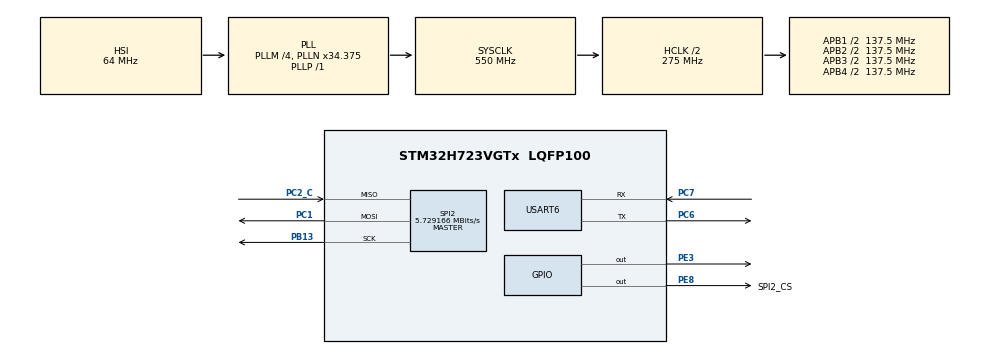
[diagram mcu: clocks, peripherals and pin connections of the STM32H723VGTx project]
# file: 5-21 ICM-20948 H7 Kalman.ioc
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CORTEX_M7.default_mode_Activation=1
Dma.Request0=SPI2_RX
Dma.Request1=SPI2_TX
Dma.SPI2_RX.0.Direction=DMA_PERIPH_TO_MEMORY
Dma.SPI2_RX.0.EventEnable=DISABLE
Dma.SPI2_RX.0.FIFOMode=DMA_FIFOMODE_DISABLE
Dma.SPI2_RX.0.Instance=DMA1_Stream3
Dma.SPI2_RX.0.MemDataAlignment=DMA_MDATAALIGN_BYTE
Dma.SPI2_RX.0.MemInc=DMA_MINC_ENABLE
Dma.SPI2_RX.0.Mode=DMA_NORMAL
Dma.SPI2_RX.0.PeriphDataAlignment=DMA_PDATAALIGN_BYTE
Dma.SPI2_RX.0.PeriphInc=DMA_PINC_DISABLE
Dma.SPI2_RX.0.Polarity=HAL_DMAMUX_REQ_GEN_RISING
Dma.SPI2_RX.0.Priority=DMA_PRIORITY_LOW
Dma.SPI2_RX.0.RequestNumber=1
Dma.SPI2_RX.0.SignalID=NONE
Dma.SPI2_RX.0.SyncEnable=DISABLE
Dma.SPI2_RX.0.SyncPolarity=HAL_DMAMUX_SYNC_NO_EVENT
Dma.SPI2_RX.0.SyncRequestNumber=1
Dma.SPI2_RX.0.SyncSignalID=NONE
Dma.SPI2_TX.1.Direction=DMA_MEMORY_TO_PERIPH
Dma.SPI2_TX.1.EventEnable=DISABLE
Dma.SPI2_TX.1.FIFOMode=DMA_FIFOMODE_DISABLE
Dma.SPI2_TX.1.Instance=DMA1_Stream4
Dma.SPI2_TX.1.MemDataAlignment=DMA_MDATAALIGN_BYTE
Dma.SPI2_TX.1.MemInc=DMA_MINC_ENABLE
Dma.SPI2_TX.1.Mode=DMA_NORMAL
Dma.SPI2_TX.1.PeriphDataAlignment=DMA_PDATAALIGN_BYTE
Dma.SPI2_TX.1.PeriphInc=DMA_PINC_DISABLE
Dma.SPI2_TX.1.Polarity=HAL_DMAMUX_REQ_GEN_RISING
Dma.SPI2_TX.1.Priority=DMA_PRIORITY_LOW
Dma.SPI2_TX.1.RequestNumber=1
Dma.SPI2_TX.1.SignalID=NONE
Dma.SPI2_TX.1.SyncEnable=DISABLE
Dma.SPI2_TX.1.SyncPolarity=HAL_DMAMUX_SYNC_NO_EVENT
Dma.SPI2_TX.1.SyncRequestNumber=1
Dma.SPI2_TX.1.SyncSignalID=NONE
Mcu.Family=STM32H7
Mcu.Name=STM32H723VGTx
Mcu.Package=LQFP100
NVIC.DMA1_Stream3_IRQn=true\:0\:0\:false\:false\:true\:false\:true\:true
NVIC.DMA1_Stream4_IRQn=true\:0\:0\:false\:false\:true\:false\:true\:true
NVIC.PriorityGroup=NVIC_PRIORITYGROUP_4
NVIC.SPI2_IRQn=true\:0\:0\:false\:false\:true\:false\:true\:true
PB13.Mode=Full_Duplex_Master
PB13.Signal=SPI2_SCK
PC1.Mode=Full_Duplex_Master
PC1.Signal=SPI2_MOSI
PC2_C.Mode=Full_Duplex_Master
PC2_C.Signal=SPI2_MISO
PC6.Mode=Asynchronous
PC6.Signal=USART6_TX
PC7.Mode=Asynchronous
PC7.Signal=USART6_RX
PE3.Signal=GPIO_Output
PE8.GPIO_Label=SPI2_CS
PE8.Signal=GPIO_Output
PH0-OSC_IN.Mode=HSE-External-Oscillator
PH0-OSC_IN.Signal=RCC_OSC_IN
PH1-OSC_OUT.Mode=HSE-External-Oscillator
PH1-OSC_OUT.Signal=RCC_OSC_OUT
ProjectManager.HeapSize=0x200
ProjectManager.StackSize=0x400
ProjectManager.TargetToolchain=STM32CubeIDE
RCC.ADCFreq_Value=129000000
RCC.APB1Freq_Value=137500000
RCC.APB2Freq_Value=137500000
RCC.APB3Freq_Value=137500000
RCC.APB4Freq_Value=137500000
RCC.CortexFreq_Value=550000000
RCC.D1PPRE=RCC_APB3_DIV2
RCC.D2PPRE1=RCC_APB1_DIV2
RCC.D2PPRE2=RCC_APB2_DIV2
RCC.D3PPRE=RCC_APB4_DIV2
RCC.DIVM1=4
RCC.DIVN1=34
RCC.DIVP1=1
RCC.DIVQ1=3
RCC.HCLKFreq_Value=275000000
RCC.HPRE=RCC_HCLK_DIV2
RCC.PLL2FRACN=0
RCC.PLL3FRACN=0
RCC.PLLFRACN=3072
RCC.SYSCLKFreq_VALUE=550000000
RCC.SYSCLKSource=RCC_SYSCLKSOURCE_PLLCLK
RCC.USBFreq_Value=183333333.33333334
SPI2.BaudRatePrescaler=SPI_BAUDRATEPRESCALER_32
SPI2.CLKPhase=SPI_PHASE_2EDGE
SPI2.CLKPolarity=SPI_POLARITY_HIGH
SPI2.CalculateBaudRate=5.729166 MBits/s
SPI2.DataSize=SPI_DATASIZE_8BIT
SPI2.Direction=SPI_DIRECTION_2LINES
SPI2.Mode=SPI_MODE_MASTER
SPI2.VirtualType=VM_MASTER
USART6.VirtualMode=VM_ASYNC
VP_MEMORYMAP_VS_MEMORYMAP.Mode=CurAppReg
board=custom

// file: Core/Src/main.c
/* USER CODE BEGIN Header */
/**
  ******************************************************************************
  * @file           : main.c
  * @brief          : Main program body
  ******************************************************************************
  * @attention
  *
  * Copyright (c) 2025 STMicroelectronics.
  * All rights reserved.
  *
  * This software is licensed under terms that can be found in the LICENSE file
  * in the root directory of this software component.
  * If no LICENSE file comes with this software, it is provided AS-IS.
  *
  ******************************************************************************
  */
/* USER CODE END Header */
#include "main.h"
#include "dma.h"
#include "memorymap.h"
#include "spi.h"
#include "usart.h"
#include "gpio.h"

/* USER CODE BEGIN Includes */
#include "icm20948.h"
#include <stdio.h>
#include <string.h>
#include <math.h>
#include "filters.h"
#include "kalman.h"
/* USER CODE END Includes */

/* USER CODE BEGIN PV */
axises my_gyro;
axises my_accel;
axises my_mag;
char uart_buf[200]; // Buffer for UART output
static float gyro_bias[3] = {0}; // Gyro calibration bias
static uint8_t uart_print_counter = 0; // Counter for 10Hz UART output

filtered_axises filtered_gyro;
filtered_axises filtered_accel;
filter_state_t filter_state;
kalman_filter_t kalman_filter; // Add Kalman filter state
//char uart_buf[200];
//static uint8_t uart_print_counter = 0;

/* USER CODE END PV */

void SystemClock_Config(void);
static void MPU_Config(void);
/* USER CODE BEGIN PFP */
void Calculate_Roll_Pitch(axises *accel, float *roll, float *pitch);
void Calibrate_Gyro(void);
/* USER CODE END PFP */

int main(void)
{

  /* MPU Configuration--------------------------------------------------------*/
  MPU_Config();

  /* MCU Configuration--------------------------------------------------------*/

  /* Reset of all peripherals, Initializes the Flash interface and the Systick. */
  HAL_Init();

  /* Configure the system clock */
  SystemClock_Config();

  /* Initialize all configured peripherals */
  MX_GPIO_Init();
  MX_DMA_Init();
  MX_SPI2_Init();
  MX_USART6_UART_Init();
  /* USER CODE BEGIN 2 */

  // Initialize filters
  // Initialize filters and Kalman filter
  filters_init(&filter_state);
  kalman_init(&kalman_filter);
  if (icm20948_who_am_i()) {
	  icm20948_init();
	  filters_calibrate_gyro(&filter_state);
	  filters_calibrate_accel(&filter_state);
	  snprintf(uart_buf, sizeof(uart_buf), "Init Success, Gyro Bias: X=%.2f, Y=%.2f, Z=%.2f dps\n"
			  "Accel Bias: X=%.2f, Y=%.2f, Z=%.2f g\n",
			  filter_state.gyro_bias[0], filter_state.gyro_bias[1], filter_state.gyro_bias[2],
			  filter_state.accel_bias[0], filter_state.accel_bias[1], filter_state.accel_bias[2]);
  } else {
	  snprintf(uart_buf, sizeof(uart_buf), "ICM-20948 Init Failed\r\n");
  }
  HAL_UART_Transmit(&huart6, (uint8_t *)uart_buf, strlen(uart_buf), 100);
  /* USER CODE END 2 */

  /* Infinite loop */
  /* USER CODE BEGIN WHILE */
  uint32_t last_tick = HAL_GetTick();
  while (1)
  {
    /* USER CODE END WHILE */

    /* USER CODE BEGIN 3 */
	  if (HAL_GetTick() - last_tick >= 1) {
		  filters_apply_gyro(&filtered_gyro, &filter_state);
		  filters_apply_accel(&filtered_accel, &filter_state);
		  if (isnan(filtered_gyro.x) || isnan(filtered_accel.x)) {
			  snprintf(uart_buf, sizeof(uart_buf), "NaN Detected in Filtered Data\r\n");
			  HAL_UART_Transmit(&huart6, (uint8_t *)uart_buf, strlen(uart_buf), 100);
		  } else {
			  float roll, pitch;
			  // Use Kalman filter to get fused roll and pitch
			  kalman_update(&kalman_filter, &filtered_gyro, &filtered_accel, &roll, &pitch);
			  uart_print_counter++;
			  if (uart_print_counter >= 70) {
				  snprintf(uart_buf, sizeof(uart_buf),
						  "Filtered Accel: X=%.2f, Y=%.2f, Z=%.2f g\n"
						  "Filtered Gyro: X=%.2f, Y=%.2f, Z=%.2f dps\n"
						  "Kalman Roll: %.2f deg, Pitch: %.2f deg\n\n",
						  filtered_accel.x, filtered_accel.y, filtered_accel.z,
						  filtered_gyro.x, filtered_gyro.y, filtered_gyro.z,
						  roll, pitch);

				  HAL_UART_Transmit(&huart6, (uint8_t *)uart_buf, strlen(uart_buf), 100);
				  uart_print_counter = 0;
			  }
		  }
		  HAL_GPIO_TogglePin(GPIOE, GPIO_PIN_3);
		  last_tick = HAL_GetTick();
	  }
  }
  /* USER CODE END 3 */
}

void SystemClock_Config(void)
{
  RCC_OscInitTypeDef RCC_OscInitStruct = {0};
  RCC_ClkInitTypeDef RCC_ClkInitStruct = {0};

  /** Supply configuration update enable
  */
  HAL_PWREx_ConfigSupply(PWR_LDO_SUPPLY);

  /** Configure the main internal regulator output voltage
  */
  __HAL_PWR_VOLTAGESCALING_CONFIG(PWR_REGULATOR_VOLTAGE_SCALE0);

  while(!__HAL_PWR_GET_FLAG(PWR_FLAG_VOSRDY)) {}

  /** Initializes the RCC Oscillators according to the specified parameters
  * in the RCC_OscInitTypeDef structure.
  */
  RCC_OscInitStruct.OscillatorType = RCC_OSCILLATORTYPE_HSI;
  RCC_OscInitStruct.HSIState = RCC_HSI_DIV1;
  RCC_OscInitStruct.HSICalibrationValue = 64;
  RCC_OscInitStruct.PLL.PLLState = RCC_PLL_ON;
  RCC_OscInitStruct.PLL.PLLSource = RCC_PLLSOURCE_HSI;
  RCC_OscInitStruct.PLL.PLLM = 4;
  RCC_OscInitStruct.PLL.PLLN = 34;
  RCC_OscInitStruct.PLL.PLLP = 1;
  RCC_OscInitStruct.PLL.PLLQ = 3;
  RCC_OscInitStruct.PLL.PLLR = 2;
  RCC_OscInitStruct.PLL.PLLRGE = RCC_PLL1VCIRANGE_3;
  RCC_OscInitStruct.PLL.PLLVCOSEL = RCC_PLL1VCOWIDE;
  RCC_OscInitStruct.PLL.PLLFRACN = 3072;
  if (HAL_RCC_OscConfig(&RCC_OscInitStruct) != HAL_OK)
  {
    Error_Handler();
  }

  /** Initializes the CPU, AHB and APB buses clocks
  */
  RCC_ClkInitStruct.ClockType = RCC_CLOCKTYPE_HCLK|RCC_CLOCKTYPE_SYSCLK
                              |RCC_CLOCKTYPE_PCLK1|RCC_CLOCKTYPE_PCLK2
                              |RCC_CLOCKTYPE_D3PCLK1|RCC_CLOCKTYPE_D1PCLK1;
  RCC_ClkInitStruct.SYSCLKSource = RCC_SYSCLKSOURCE_PLLCLK;
  RCC_ClkInitStruct.SYSCLKDivider = RCC_SYSCLK_DIV1;
  RCC_ClkInitStruct.AHBCLKDivider = RCC_HCLK_DIV2;
  RCC_ClkInitStruct.APB3CLKDivider = RCC_APB3_DIV2;
  RCC_ClkInitStruct.APB1CLKDivider = RCC_APB1_DIV2;
  RCC_ClkInitStruct.APB2CLKDivider = RCC_APB2_DIV2;
  RCC_ClkInitStruct.APB4CLKDivider = RCC_APB4_DIV2;

  if (HAL_RCC_ClockConfig(&RCC_ClkInitStruct, FLASH_LATENCY_3) != HAL_OK)
  {
    Error_Handler();
  }
}

/* USER CODE BEGIN 4 */

void Calculate_Roll_Pitch(axises *accel, float *roll, float *pitch)
{
    *roll = atan2f(accel->y, sqrtf(accel->z * accel->z + accel->x * accel->x)) * 180.0f / M_PI;
    *pitch = atan2f(-accel->x, accel->z) * 180.0f / M_PI;
}

void Calibrate_Gyro(void)
{
    axises temp;
    float sum[3] = {0};
    const int samples = 500;
    for (int i = 0; i < samples; i++) {
        icm20948_gyro_read_dps(&temp);
        sum[0] += temp.x;
        sum[1] += temp.y;
        sum[2] += temp.z;
        HAL_Delay(2);
    }
    gyro_bias[0] = sum[0] / samples;
    gyro_bias[1] = sum[1] / samples;
    gyro_bias[2] = sum[2] / samples;
}

/* USER CODE END 4 */

 /* MPU Configuration */

void MPU_Config(void)
{
  MPU_Region_InitTypeDef MPU_InitStruct = {0};

  /* Disables the MPU */
  HAL_MPU_Disable();

  /** Initializes and configures the Region and the memory to be protected
  */
  MPU_InitStruct.Enable = MPU_REGION_ENABLE;
  MPU_InitStruct.Number = MPU_REGION_NUMBER0;
  MPU_InitStruct.BaseAddress = 0x0;
  MPU_InitStruct.Size = MPU_REGION_SIZE_4GB;
  MPU_InitStruct.SubRegionDisable = 0x87;
  MPU_InitStruct.TypeExtField = MPU_TEX_LEVEL0;
  MPU_InitStruct.AccessPermission = MPU_REGION_NO_ACCESS;
  MPU_InitStruct.DisableExec = MPU_INSTRUCTION_ACCESS_DISABLE;
  MPU_InitStruct.IsShareable = MPU_ACCESS_SHAREABLE;
  MPU_InitStruct.IsCacheable = MPU_ACCESS_NOT_CACHEABLE;
  MPU_InitStruct.IsBufferable = MPU_ACCESS_NOT_BUFFERABLE;

  HAL_MPU_ConfigRegion(&MPU_InitStruct);
  /* Enables the MPU */
  HAL_MPU_Enable(MPU_PRIVILEGED_DEFAULT);

}

void Error_Handler(void)
{
  __disable_irq();
  while (1)
  {
  }
}
